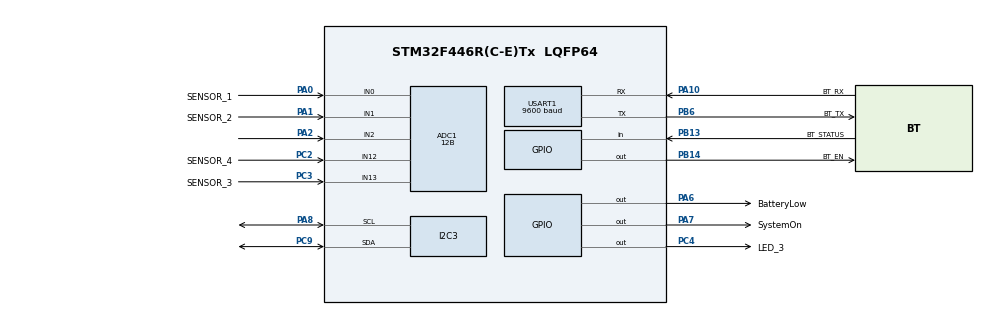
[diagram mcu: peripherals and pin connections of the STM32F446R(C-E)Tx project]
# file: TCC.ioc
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ADC1.Channel-0\#ChannelRegularConversion=ADC_CHANNEL_0
ADC1.ClockPrescaler=ADC_CLOCK_SYNC_PCLK_DIV2
ADC1.ContinuousConvMode=DISABLE
ADC1.DMAContinuousRequests=DISABLE
ADC1.DataAlign=ADC_DATAALIGN_RIGHT
ADC1.DiscontinuousConvMode=DISABLE
ADC1.EOCSelection=ADC_EOC_SINGLE_CONV
ADC1.EnableAnalogWatchDog=false
ADC1.ExternalTrigConv=ADC_SOFTWARE_START
ADC1.ExternalTrigConvEdge=ADC_EXTERNALTRIGCONVEDGE_NONE
ADC1.InjNumberOfConversion=0
ADC1.NbrOfConversion=1
ADC1.NbrOfConversionFlag=1
ADC1.Rank-0\#ChannelRegularConversion=1
ADC1.Resolution=ADC_RESOLUTION_12B
ADC1.SamplingTime-0\#ChannelRegularConversion=ADC_SAMPLETIME_3CYCLES
ADC1.ScanConvMode=DISABLE
ADC1.master=1
Mcu.Family=STM32F4
Mcu.Name=STM32F446R(C-E)Tx
Mcu.Package=LQFP64
NVIC.PriorityGroup=NVIC_PRIORITYGROUP_4
PA0-WKUP.GPIO_Label=SENSOR_1
PA0-WKUP.Signal=ADCx_IN0
PA1.GPIO_Label=SENSOR_2
PA1.Signal=ADCx_IN1
PA10.GPIO_Label=BT_RX
PA10.Mode=Asynchronous
PA10.Signal=USART1_RX
PA2.Signal=ADCx_IN2
PA6.GPIO_Label=BatteryLow
PA6.Signal=GPIO_Output
PA7.GPIO_Label=SystemOn
PA7.Signal=GPIO_Output
PA8.Mode=I2C
PA8.Signal=I2C3_SCL
PB13.GPIO_Label=BT_STATUS
PB13.Signal=GPIO_Input
PB14.GPIO_Label=BT_EN
PB14.Signal=GPIO_Output
PB6.GPIO_Label=BT_TX
PB6.Mode=Asynchronous
PB6.Signal=USART1_TX
PC2.GPIO_Label=SENSOR_4
PC2.Signal=ADCx_IN12
PC3.GPIO_Label=SENSOR_3
PC3.Signal=ADCx_IN13
PC4.GPIO_Label=LED_3
PC4.Signal=GPIO_Output
PC9.Mode=I2C
PC9.Signal=I2C3_SDA
ProjectManager.HeapSize=0x200
ProjectManager.StackSize=0x400
ProjectManager.TargetToolchain=SW4STM32
RCC.CortexFreq_Value=16000000
RCC.USBFreq_Value=96000000
RCC.VCOOutputFreq_Value=192000000
SH.ADCx_IN0.0=ADC1_IN0,IN0
SH.ADCx_IN1.0=ADC1_IN1,IN1
SH.ADCx_IN12.0=ADC1_IN12,IN12
SH.ADCx_IN13.0=ADC1_IN13,IN13
SH.ADCx_IN2.0=ADC1_IN2,IN2
USART1.BaudRate=9600
USART1.VirtualMode=VM_ASYNC
board=TCC

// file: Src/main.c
/**
  ******************************************************************************
  * @file           : main.c
  * @brief          : Main program body
  ******************************************************************************
  ** This notice applies to any and all portions of this file
  * that are not between comment pairs USER CODE BEGIN and
  * USER CODE END. Other portions of this file, whether
  * inserted by the user or by software development tools
  * are owned by their respective copyright owners.
  *
  * COPYRIGHT(c) 2018 STMicroelectronics
  *
  * Redistribution and use in source and binary forms, with or without modification,
  * are permitted provided that the following conditions are met:
  *   1. Redistributions of source code must retain the above copyright notice,
  *      this list of conditions and the following disclaimer.
  *   2. Redistributions in binary form must reproduce the above copyright notice,
  *      this list of conditions and the following disclaimer in the documentation
  *      and/or other materials provided with the distribution.
  *   3. Neither the name of STMicroelectronics nor the names of its contributors
  *      may be used to endorse or promote products derived from this software
  *      without specific prior written permission.
  *
  * THIS SOFTWARE IS PROVIDED BY THE COPYRIGHT HOLDERS AND CONTRIBUTORS "AS IS"
  * AND ANY EXPRESS OR IMPLIED WARRANTIES, INCLUDING, BUT NOT LIMITED TO, THE
  * IMPLIED WARRANTIES OF MERCHANTABILITY AND FITNESS FOR A PARTICULAR PURPOSE ARE
  * DISCLAIMED. IN NO EVENT SHALL THE COPYRIGHT HOLDER OR CONTRIBUTORS BE LIABLE
  * FOR ANY DIRECT, INDIRECT, INCIDENTAL, SPECIAL, EXEMPLARY, OR CONSEQUENTIAL
  * DAMAGES (INCLUDING, BUT NOT LIMITED TO, PROCUREMENT OF SUBSTITUTE GOODS OR
  * SERVICES; LOSS OF USE, DATA, OR PROFITS; OR BUSINESS INTERRUPTION) HOWEVER
  * CAUSED AND ON ANY THEORY OF LIABILITY, WHETHER IN CONTRACT, STRICT LIABILITY,
  * OR TORT (INCLUDING NEGLIGENCE OR OTHERWISE) ARISING IN ANY WAY OUT OF THE USE
  * OF THIS SOFTWARE, EVEN IF ADVISED OF THE POSSIBILITY OF SUCH DAMAGE.
  *
  ******************************************************************************
  */
#include "main.h"
#include "stm32f4xx_hal.h"

/* USER CODE BEGIN Includes */
#include <string.h>
/* USER CODE END Includes */

ADC_HandleTypeDef hadc1;

I2C_HandleTypeDef hi2c3;

UART_HandleTypeDef huart1;

/* USER CODE BEGIN PV */
/* Private variables ---------------------------------------------------------*/
// Constants
// i2c simplification
#define hi2c hi2c3

///Slave Address for TPL0102 0
#define SLAVE_ADDRESS1_LEFT_UP    0xA0
///Slave Address for TPL0102 1
#define SLAVE_ADDRESS2_LEFT_DOWN  0xA2
///Slave Address for TPL0102 2
#define SLAVE_ADDRESS3_RIGHT_UP   0xA4
///Slave Address for TPL0102 3
#define SLAVE_ADDRESS4_RIGHT_DOWN 0xA6

#define REGISTER_WRA	0x00
#define REGISTER_WRB	0x01

const int DEFAULT_POT1A = 192;//ok
const int DEFAULT_POT1B = 0;
const int DEFAULT_POT2A = 192;//3
const int DEFAULT_POT2B = 0;
const int DEFAULT_POT3A = 192;//4
const int DEFAULT_POT3B = 0;
const int DEFAULT_POT4A = 192;//2
const int DEFAULT_POT4B = 0;

const float offset = (((float)(390 * 2.8) / 100000.00) / 0.0007);

const int SENSOR_CHANNELS[] = {
	ADC_CHANNEL_0,
	ADC_CHANNEL_1,
	ADC_CHANNEL_12,
	ADC_CHANNEL_13
};

// Global scope

// Sensor readings
int sensorReading0;
int sensorReading1;
int sensorReading2;
int sensorReading3;

// buffer
char buffer[20];

/* USER CODE END PV */

void SystemClock_Config(void);
static void MX_GPIO_Init(void);
static void MX_USART1_UART_Init(void);
static void MX_ADC1_Init(void);
static void MX_I2C3_Init(void);

/* USER CODE BEGIN PFP */
/* Private function prototypes -----------------------------------------------*/
void setup();

void loop();

/******************************************************************************
 * Function:      void initPotentiometer(void)
 * Input:         void
 * Output:        void
 * Description:   set initial vallue for the potentiometers
******************************************************************************/
void initPotentiometer();

/******************************************************************************
 * Function:      void InitLeds(void)
 * Input:         void
 * Output:        void
 * Description:   initial setting for the board LEDs
******************************************************************************/
void initLeds();

/******************************************************************************
 * Function:      void initiADCChannel(int channel)
 * Input:         int channel
 * Output:        void
 * Description:   init ADC channel
******************************************************************************/
void initiADCChannel(int channel);

/******************************************************************************
 * Function:      int readADC (int channel)
 * Input:         int channel
 * Output:        int reading
 * Description:   read indicated ADC Channel
******************************************************************************/
int readADC (int channel);

/******************************************************************************
 * Function:      int readSensors(int sensor)
 * Input:         int sensor
 * Output:        int reading
 * Description:   read indicated ADC Channel
 ******************************************************************************/
int readSensors(int sensor);

/******************************************************************************
 * Function:      void bluetoothTransmit(char *send)
 * Input:         char *send: string
 * Output:        None
 * Description:   Transmits the content from the string using the TX from
 *                serial communication USART1
 *****************************************************************************/
void bluetoothTransmit(char *send);

/******************************************************************************
 * Function:      void delay_ms (int millis)
 * Input:         int millis
 * Output:        None
 * Description:   Generate delay in milliseconds
 *****************************************************************************/
void delay_ms(int millis);

/******************************************************************************
 * Function:      void SystemOn()
 * Input:         void
 * Output:        void
 * Description:   Set the systemOn LED
******************************************************************************/
void SystemOn();
/* USER CODE END PFP */

int main(void)
{
  /* USER CODE BEGIN 1 */
	// Potentiometer parameters

  /* USER CODE END 1 */

  /* MCU Configuration----------------------------------------------------------*/

  /* Reset of all peripherals, Initializes the Flash interface and the Systick. */
  HAL_Init();

  /* Configure the system clock */
  SystemClock_Config();

  /* Initialize all configured peripherals */
  MX_GPIO_Init();
  MX_USART1_UART_Init();
  MX_ADC1_Init();
  MX_I2C3_Init();
  /* USER CODE BEGIN 2 */
  setup();
  /* USER CODE END 2 */

  /* Infinite loop */
  /* USER CODE BEGIN WHILE */
  while (1)
  {
	  loop();
  /* USER CODE END WHILE */

  }

}

void SystemClock_Config(void)
{

  RCC_OscInitTypeDef RCC_OscInitStruct;
  RCC_ClkInitTypeDef RCC_ClkInitStruct;

    /**Configure the main internal regulator output voltage
    */
  __HAL_RCC_PWR_CLK_ENABLE();

  __HAL_PWR_VOLTAGESCALING_CONFIG(PWR_REGULATOR_VOLTAGE_SCALE3);

    /**Initializes the CPU, AHB and APB busses clocks
    */
  RCC_OscInitStruct.OscillatorType = RCC_OSCILLATORTYPE_HSI;
  RCC_OscInitStruct.HSIState = RCC_HSI_ON;
  RCC_OscInitStruct.HSICalibrationValue = 16;
  RCC_OscInitStruct.PLL.PLLState = RCC_PLL_NONE;
  if (HAL_RCC_OscConfig(&RCC_OscInitStruct) != HAL_OK)
  {
    _Error_Handler(__FILE__, __LINE__);
  }

    /**Initializes the CPU, AHB and APB busses clocks
    */
  RCC_ClkInitStruct.ClockType = RCC_CLOCKTYPE_HCLK|RCC_CLOCKTYPE_SYSCLK
                              |RCC_CLOCKTYPE_PCLK1|RCC_CLOCKTYPE_PCLK2;
  RCC_ClkInitStruct.SYSCLKSource = RCC_SYSCLKSOURCE_HSI;
  RCC_ClkInitStruct.AHBCLKDivider = RCC_SYSCLK_DIV1;
  RCC_ClkInitStruct.APB1CLKDivider = RCC_HCLK_DIV1;
  RCC_ClkInitStruct.APB2CLKDivider = RCC_HCLK_DIV1;

  if (HAL_RCC_ClockConfig(&RCC_ClkInitStruct, FLASH_LATENCY_0) != HAL_OK)
  {
    _Error_Handler(__FILE__, __LINE__);
  }

    /**Configure the Systick interrupt time
    */
  HAL_SYSTICK_Config(HAL_RCC_GetHCLKFreq()/1000);

    /**Configure the Systick
    */
  HAL_SYSTICK_CLKSourceConfig(SYSTICK_CLKSOURCE_HCLK);

  /* SysTick_IRQn interrupt configuration */
  HAL_NVIC_SetPriority(SysTick_IRQn, 0, 0);
}

/* ADC1 init function */
static void MX_ADC1_Init(void)
{

  ADC_ChannelConfTypeDef sConfig;

    /**Configure the global features of the ADC (Clock, Resolution, Data Alignment and number of conversion)
    */
  hadc1.Instance = ADC1;
  hadc1.Init.ClockPrescaler = ADC_CLOCK_SYNC_PCLK_DIV2;
  hadc1.Init.Resolution = ADC_RESOLUTION_12B;
  hadc1.Init.ScanConvMode = DISABLE;
  hadc1.Init.ContinuousConvMode = DISABLE;
  hadc1.Init.DiscontinuousConvMode = DISABLE;
  hadc1.Init.ExternalTrigConvEdge = ADC_EXTERNALTRIGCONVEDGE_NONE;
  hadc1.Init.ExternalTrigConv = ADC_SOFTWARE_START;
  hadc1.Init.DataAlign = ADC_DATAALIGN_RIGHT;
  hadc1.Init.NbrOfConversion = 1;
  hadc1.Init.DMAContinuousRequests = DISABLE;
  hadc1.Init.EOCSelection = ADC_EOC_SINGLE_CONV;
  if (HAL_ADC_Init(&hadc1) != HAL_OK)
  {
    _Error_Handler(__FILE__, __LINE__);
  }

    /**Configure for the selected ADC regular channel its corresponding rank in the sequencer and its sample time.
    */
  sConfig.Channel = ADC_CHANNEL_0;
  sConfig.Rank = 1;
  sConfig.SamplingTime = ADC_SAMPLETIME_3CYCLES;
  if (HAL_ADC_ConfigChannel(&hadc1, &sConfig) != HAL_OK)
  {
    _Error_Handler(__FILE__, __LINE__);
  }

}

/* I2C3 init function */
static void MX_I2C3_Init(void)
{

  hi2c3.Instance = I2C3;
  hi2c3.Init.ClockSpeed = 100000;
  hi2c3.Init.DutyCycle = I2C_DUTYCYCLE_2;
  hi2c3.Init.OwnAddress1 = 0;
  hi2c3.Init.AddressingMode = I2C_ADDRESSINGMODE_7BIT;
  hi2c3.Init.DualAddressMode = I2C_DUALADDRESS_DISABLE;
  hi2c3.Init.OwnAddress2 = 0;
  hi2c3.Init.GeneralCallMode = I2C_GENERALCALL_DISABLE;
  hi2c3.Init.NoStretchMode = I2C_NOSTRETCH_DISABLE;
  if (HAL_I2C_Init(&hi2c3) != HAL_OK)
  {
    _Error_Handler(__FILE__, __LINE__);
  }

}

/* USART1 init function */
static void MX_USART1_UART_Init(void)
{

  huart1.Instance = USART1;
  huart1.Init.BaudRate = 9600;
  huart1.Init.WordLength = UART_WORDLENGTH_8B;
  huart1.Init.StopBits = UART_STOPBITS_1;
  huart1.Init.Parity = UART_PARITY_NONE;
  huart1.Init.Mode = UART_MODE_TX_RX;
  huart1.Init.HwFlowCtl = UART_HWCONTROL_NONE;
  huart1.Init.OverSampling = UART_OVERSAMPLING_16;
  if (HAL_UART_Init(&huart1) != HAL_OK)
  {
    _Error_Handler(__FILE__, __LINE__);
  }

}

/** Configure pins as
        * Analog
        * Input
        * Output
        * EVENT_OUT
        * EXTI
*/
static void MX_GPIO_Init(void)
{

  GPIO_InitTypeDef GPIO_InitStruct;

  /* GPIO Ports Clock Enable */
  __HAL_RCC_GPIOC_CLK_ENABLE();
  __HAL_RCC_GPIOA_CLK_ENABLE();
  __HAL_RCC_GPIOB_CLK_ENABLE();

  /*Configure GPIO pin Output Level */
  HAL_GPIO_WritePin(GPIOA, BatteryLow_Pin|SystemOn_Pin, GPIO_PIN_RESET);

  /*Configure GPIO pin Output Level */
  HAL_GPIO_WritePin(LED_3_GPIO_Port, LED_3_Pin, GPIO_PIN_RESET);

  /*Configure GPIO pin Output Level */
  HAL_GPIO_WritePin(BT_EN_GPIO_Port, BT_EN_Pin, GPIO_PIN_RESET);

  /*Configure GPIO pins : BatteryLow_Pin SystemOn_Pin */
  GPIO_InitStruct.Pin = BatteryLow_Pin|SystemOn_Pin;
  GPIO_InitStruct.Mode = GPIO_MODE_OUTPUT_PP;
  GPIO_InitStruct.Pull = GPIO_NOPULL;
  GPIO_InitStruct.Speed = GPIO_SPEED_FREQ_LOW;
  HAL_GPIO_Init(GPIOA, &GPIO_InitStruct);

  /*Configure GPIO pin : LED_3_Pin */
  GPIO_InitStruct.Pin = LED_3_Pin;
  GPIO_InitStruct.Mode = GPIO_MODE_OUTPUT_PP;
  GPIO_InitStruct.Pull = GPIO_NOPULL;
  GPIO_InitStruct.Speed = GPIO_SPEED_FREQ_LOW;
  HAL_GPIO_Init(LED_3_GPIO_Port, &GPIO_InitStruct);

  /*Configure GPIO pin : BT_STATUS_Pin */
  GPIO_InitStruct.Pin = BT_STATUS_Pin;
  GPIO_InitStruct.Mode = GPIO_MODE_INPUT;
  GPIO_InitStruct.Pull = GPIO_NOPULL;
  HAL_GPIO_Init(BT_STATUS_GPIO_Port, &GPIO_InitStruct);

  /*Configure GPIO pin : BT_EN_Pin */
  GPIO_InitStruct.Pin = BT_EN_Pin;
  GPIO_InitStruct.Mode = GPIO_MODE_OUTPUT_PP;
  GPIO_InitStruct.Pull = GPIO_NOPULL;
  GPIO_InitStruct.Speed = GPIO_SPEED_FREQ_LOW;
  HAL_GPIO_Init(BT_EN_GPIO_Port, &GPIO_InitStruct);

}

/* USER CODE BEGIN 4 */
void setup(){
	// Initiate the potentiometers
	initPotentiometer();
	// Initiate LEDs
	initLeds();
	// set the SystemOn LED
	SystemOn();
}

void loop(){
	// read sensor
	sensorReading0 = (4095 - readSensors(0) - 1023)*10;
	sensorReading1 = (4095 - readSensors(1) - 1023)*36;
	sensorReading2 = (4095 - readSensors(2) - 1023)*44;
	sensorReading3 = (4095 - readSensors(3) - 1023)*6;

	if(sensorReading0 < 0) sensorReading0 = 0;
	if(sensorReading0 > 4095) sensorReading0 = 4095;
	if(sensorReading1 < 0) sensorReading1 = 0;
	if(sensorReading1 > 4095) sensorReading1 = 4095;
	if(sensorReading2 < 0) sensorReading2 = 0;
	if(sensorReading2 > 4095) sensorReading2 = 4095;
	if(sensorReading3 < 0) sensorReading3 = 0;
	if(sensorReading3 > 4095) sensorReading3 = 4095;

	// transmit to bluetooth
	bluetoothTransmit("{");
	sprintf(buffer, "1:%d;",(int)sensorReading0);
	bluetoothTransmit(buffer);
	sprintf(buffer, "2:%d;",(int)sensorReading2);
	bluetoothTransmit(buffer);
	sprintf(buffer, "3:%d;",(int)sensorReading1);
	bluetoothTransmit(buffer);
	sprintf(buffer, "4:%d;",(int)sensorReading3);
	bluetoothTransmit(buffer);
	bluetoothTransmit("}");

	// wait for next reading
	delay_ms(500);
}

/******************************************************************************
 * Function:      void initPotentiometer(void)
 * Input:         void
 * Output:        void
 * Description:   set initial vallue for the potentiometers
******************************************************************************/
void initPotentiometer(void){

	int pot1A = DEFAULT_POT1A;
	int pot1B = DEFAULT_POT1B;
	int pot2A = DEFAULT_POT2A;
	int pot2B = DEFAULT_POT2B;
	int pot3A = DEFAULT_POT3A;
	int pot3B = DEFAULT_POT3B;
	int pot4A = DEFAULT_POT4A;
	int pot4B = DEFAULT_POT4B;

	uint8_t data_POTA1[2]={REGISTER_WRA,(uint8_t)(pot1A)};
	uint8_t data_POTB1[2]={REGISTER_WRB,(uint8_t)(pot1B)};
	uint8_t data_POTA2[2]={REGISTER_WRA,(uint8_t)(pot2A)};
	uint8_t data_POTB2[2]={REGISTER_WRB,(uint8_t)(pot2B)};
	uint8_t data_POTA3[2]={REGISTER_WRA,(uint8_t)(pot3A)};
	uint8_t data_POTB3[2]={REGISTER_WRB,(uint8_t)(pot3B)};
	uint8_t data_POTA4[2]={REGISTER_WRA,(uint8_t)(pot4A)};
	uint8_t data_POTB4[2]={REGISTER_WRB,(uint8_t)(pot4B)};

	HAL_I2C_Master_Transmit(&hi2c,SLAVE_ADDRESS1_LEFT_UP,data_POTA1,2,1000);
	HAL_I2C_Master_Transmit(&hi2c,SLAVE_ADDRESS1_LEFT_UP,data_POTB1,2,1000);
	HAL_I2C_Master_Transmit(&hi2c,SLAVE_ADDRESS2_LEFT_DOWN,data_POTA2,2,1000);
	HAL_I2C_Master_Transmit(&hi2c,SLAVE_ADDRESS2_LEFT_DOWN,data_POTB2,2,1000);
	HAL_I2C_Master_Transmit(&hi2c,SLAVE_ADDRESS3_RIGHT_UP,data_POTA3,2,1000);
	HAL_I2C_Master_Transmit(&hi2c,SLAVE_ADDRESS3_RIGHT_UP,data_POTB3,2,1000);
	HAL_I2C_Master_Transmit(&hi2c,SLAVE_ADDRESS4_RIGHT_DOWN,data_POTA4,2,1000);
	HAL_I2C_Master_Transmit(&hi2c,SLAVE_ADDRESS4_RIGHT_DOWN,data_POTB4,2,1000);
}

void initLeds(void){
	HAL_GPIO_WritePin(SystemOn_GPIO_Port,SystemOn_Pin,GPIO_PIN_SET);
	HAL_GPIO_WritePin(LED_3_GPIO_Port,LED_3_Pin,GPIO_PIN_SET);
	HAL_GPIO_WritePin(BatteryLow_GPIO_Port,BatteryLow_Pin,GPIO_PIN_SET);
}

void initiADCChannel(int channel){
  ADC_ChannelConfTypeDef sConfig;

  sConfig.Channel = channel;
  sConfig.Rank = 1;
  sConfig.SamplingTime = ADC_SAMPLETIME_3CYCLES;
  if (HAL_ADC_ConfigChannel(&hadc1, &sConfig) != HAL_OK)
  {
	_Error_Handler(__FILE__, __LINE__);
  }
}

int readADC (int channel){
	uint32_t val=0;
	initiADCChannel(channel);
	if(HAL_ADC_GetState (&hadc1) != HAL_ADC_STATE_BUSY)
	{
		HAL_ADC_ConfigChannel(&hadc1,channel);
		HAL_ADC_Start(&hadc1);
		HAL_ADC_PollForConversion(&hadc1,100);
		val=HAL_ADC_GetValue(&hadc1);
		HAL_ADC_Stop(&hadc1);
	}
	return val;
}

int readSensors(int sensor){
	return  readADC(SENSOR_CHANNELS[sensor]);
}

void bluetoothTransmit(char *send){
	HAL_UART_Transmit(&huart1, (uint8_t*)send, (unsigned)strlen(send),100);
}

void delay_ms(int millis){
	HAL_Delay(millis);
}

void SystemOn(void){
	HAL_GPIO_WritePin(SystemOn_GPIO_Port,SystemOn_Pin,GPIO_PIN_RESET);
}
/* USER CODE END 4 */

void _Error_Handler(char *file, int line)
{
  while(1)
  {
  }
}

/************************ (C) COPYRIGHT STMicroelectronics *****END OF FILE****/
